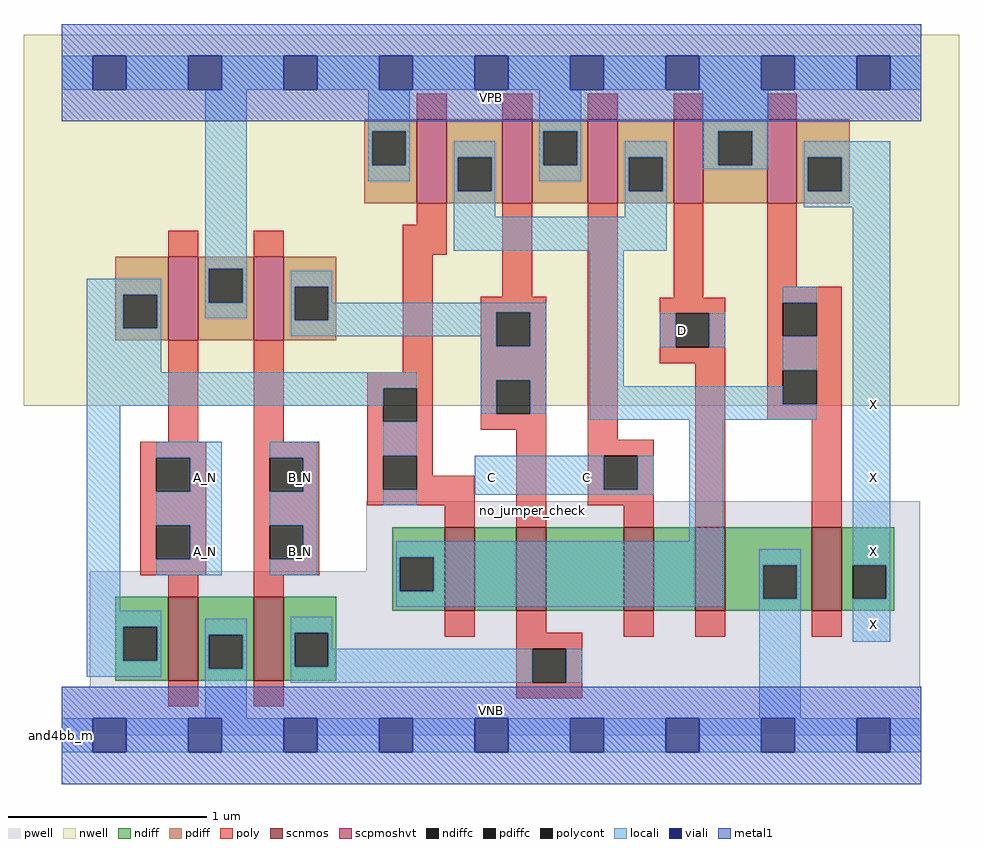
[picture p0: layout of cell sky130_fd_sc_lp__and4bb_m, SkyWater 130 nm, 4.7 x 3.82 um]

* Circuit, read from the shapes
.subckt sky130_fd_sc_lp__and4bb_m A_N B_N C D VGND VNB VPB VPWR X
XM1 VGND A_N n1 VNB sky130_fd_pr__nfet_01v8 w=0.42 l=0.15
XM2 n2 B_N VGND VNB sky130_fd_pr__nfet_01v8 w=0.42 l=0.15
XM3 n3 n1 n4 VNB sky130_fd_pr__nfet_01v8 w=0.42 l=0.15
XM4 n5 n2 n3 VNB sky130_fd_pr__nfet_01v8 w=0.42 l=0.15
XM5 n6 C n5 VNB sky130_fd_pr__nfet_01v8 w=0.42 l=0.15
XM6 VGND D n6 VNB sky130_fd_pr__nfet_01v8 w=0.42 l=0.15
XM7 X n4 VGND VNB sky130_fd_pr__nfet_01v8 w=0.42 l=0.15
XM8 VPWR A_N n1 VPB sky130_fd_pr__pfet_01v8_hvt w=0.42 l=0.15
XM9 n2 B_N VPWR VPB sky130_fd_pr__pfet_01v8_hvt w=0.42 l=0.15
XM10 n4 n1 VPWR VPB sky130_fd_pr__pfet_01v8_hvt w=0.42 l=0.15
XM11 VPWR n2 n4 VPB sky130_fd_pr__pfet_01v8_hvt w=0.42 l=0.15
XM12 n4 C VPWR VPB sky130_fd_pr__pfet_01v8_hvt w=0.42 l=0.15
XM13 VPWR D n4 VPB sky130_fd_pr__pfet_01v8_hvt w=0.42 l=0.15
XM14 X n4 VPWR VPB sky130_fd_pr__pfet_01v8_hvt w=0.42 l=0.15
.ends

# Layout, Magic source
magic
tech sky130A
magscale 1 2
<< nwell >>
rect -38 331 902 704
<< pwell >>
rect 306 165 863 235
rect 28 49 863 165
rect 0 0 864 49
<< scnmos >>
rect 107 55 137 139
rect 193 55 223 139
rect 385 125 415 209
rect 457 125 487 209
rect 565 125 595 209
rect 637 125 667 209
rect 754 125 784 209
<< scpmoshvt >>
rect 357 535 387 619
rect 443 535 473 619
rect 529 535 559 619
rect 615 535 645 619
rect 709 535 739 619
rect 107 397 137 481
rect 193 397 223 481
<< ndiff >>
rect 332 179 385 209
rect 332 145 340 179
rect 374 145 385 179
rect 54 109 107 139
rect 54 75 62 109
rect 96 75 107 109
rect 54 55 107 75
rect 137 101 193 139
rect 137 67 148 101
rect 182 67 193 101
rect 137 55 193 67
rect 223 103 276 139
rect 332 125 385 145
rect 415 125 457 209
rect 487 125 565 209
rect 595 125 637 209
rect 667 171 754 209
rect 667 137 705 171
rect 739 137 754 171
rect 667 125 754 137
rect 784 171 837 209
rect 784 137 795 171
rect 829 137 837 171
rect 784 125 837 137
rect 223 69 234 103
rect 268 69 276 103
rect 223 55 276 69
<< pdiff >>
rect 304 607 357 619
rect 304 573 312 607
rect 346 573 357 607
rect 304 535 357 573
rect 387 581 443 619
rect 387 547 398 581
rect 432 547 443 581
rect 387 535 443 547
rect 473 607 529 619
rect 473 573 484 607
rect 518 573 529 607
rect 473 535 529 573
rect 559 581 615 619
rect 559 547 570 581
rect 604 547 615 581
rect 559 535 615 547
rect 645 607 709 619
rect 645 573 660 607
rect 694 573 709 607
rect 645 535 709 573
rect 739 581 792 619
rect 739 547 750 581
rect 784 547 792 581
rect 739 535 792 547
rect 54 443 107 481
rect 54 409 62 443
rect 96 409 107 443
rect 54 397 107 409
rect 137 469 193 481
rect 137 435 148 469
rect 182 435 193 469
rect 137 397 193 435
rect 223 451 276 481
rect 223 417 234 451
rect 268 417 276 451
rect 223 397 276 417
<< ndiffc >>
rect 340 145 374 179
rect 62 75 96 109
rect 148 67 182 101
rect 705 137 739 171
rect 795 137 829 171
rect 234 69 268 103
<< pdiffc >>
rect 312 573 346 607
rect 398 547 432 581
rect 484 573 518 607
rect 570 547 604 581
rect 660 573 694 607
rect 750 547 784 581
rect 62 409 96 443
rect 148 435 182 469
rect 234 417 268 451
<< poly >>
rect 357 619 387 645
rect 443 619 473 645
rect 529 619 559 645
rect 615 619 645 645
rect 709 619 739 645
rect 357 513 387 535
rect 107 481 137 507
rect 193 481 223 507
rect 343 483 387 513
rect 107 295 137 397
rect 193 295 223 397
rect 343 365 373 483
rect 443 441 473 535
rect 307 349 373 365
rect 307 315 323 349
rect 357 315 373 349
rect 79 279 145 295
rect 79 245 95 279
rect 129 245 145 279
rect 79 211 145 245
rect 79 177 95 211
rect 129 177 145 211
rect 79 161 145 177
rect 193 279 259 295
rect 193 245 209 279
rect 243 245 259 279
rect 193 211 259 245
rect 307 281 373 315
rect 421 425 487 441
rect 421 391 437 425
rect 471 391 487 425
rect 421 357 487 391
rect 421 323 437 357
rect 471 323 487 357
rect 421 307 487 323
rect 307 247 323 281
rect 357 261 373 281
rect 357 247 415 261
rect 307 231 415 247
rect 193 177 209 211
rect 243 177 259 211
rect 385 209 415 231
rect 457 209 487 307
rect 529 297 559 535
rect 615 440 645 535
rect 709 451 739 535
rect 601 424 667 440
rect 601 390 617 424
rect 651 390 667 424
rect 601 374 667 390
rect 529 281 595 297
rect 529 247 545 281
rect 579 247 595 281
rect 529 231 595 247
rect 565 209 595 231
rect 637 209 667 374
rect 709 435 784 451
rect 709 401 725 435
rect 759 401 784 435
rect 709 367 784 401
rect 709 333 725 367
rect 759 333 784 367
rect 709 317 784 333
rect 754 209 784 317
rect 193 161 259 177
rect 107 139 137 161
rect 193 139 223 161
rect 385 99 415 125
rect 457 103 487 125
rect 457 87 523 103
rect 565 99 595 125
rect 637 99 667 125
rect 754 99 784 125
rect 107 29 137 55
rect 193 29 223 55
rect 457 53 473 87
rect 507 53 523 87
rect 457 37 523 53
<< polycont >>
rect 323 315 357 349
rect 95 245 129 279
rect 95 177 129 211
rect 209 245 243 279
rect 437 391 471 425
rect 437 323 471 357
rect 323 247 357 281
rect 209 177 243 211
rect 617 390 651 424
rect 545 247 579 281
rect 725 401 759 435
rect 725 333 759 367
rect 473 53 507 87
<< locali >>
rect 0 649 31 683
rect 65 649 127 683
rect 161 649 223 683
rect 257 649 319 683
rect 353 649 415 683
rect 449 649 511 683
rect 545 649 607 683
rect 641 649 703 683
rect 737 649 799 683
rect 833 649 864 683
rect 144 469 186 649
rect 308 607 350 649
rect 308 573 312 607
rect 346 573 350 607
rect 480 607 522 649
rect 308 557 350 573
rect 394 581 436 597
rect 394 547 398 581
rect 432 547 436 581
rect 480 573 484 607
rect 518 573 522 607
rect 644 607 710 649
rect 480 557 522 573
rect 566 581 608 597
rect 394 521 436 547
rect 566 547 570 581
rect 604 547 608 581
rect 644 573 660 607
rect 694 573 710 607
rect 644 569 710 573
rect 746 581 833 597
rect 566 521 608 547
rect 746 547 750 581
rect 784 547 833 581
rect 746 531 833 547
rect 394 487 608 521
rect 25 443 100 459
rect 25 409 62 443
rect 96 409 100 443
rect 144 435 148 469
rect 182 435 186 469
rect 144 419 186 435
rect 230 451 272 467
rect 25 365 100 409
rect 230 417 234 451
rect 268 435 272 451
rect 268 425 487 435
rect 268 417 437 425
rect 230 401 437 417
rect 421 391 437 401
rect 471 391 487 425
rect 25 349 357 365
rect 25 331 323 349
rect 25 125 59 331
rect 421 357 487 391
rect 421 323 437 357
rect 471 323 487 357
rect 531 351 565 487
rect 725 435 759 451
rect 601 390 617 424
rect 651 390 667 424
rect 725 367 759 401
rect 531 333 725 351
rect 531 317 759 333
rect 95 279 161 295
rect 129 245 161 279
rect 95 211 161 245
rect 129 177 161 211
rect 95 161 161 177
rect 209 279 257 295
rect 243 245 257 279
rect 209 211 257 245
rect 323 281 357 315
rect 323 231 357 247
rect 415 247 545 281
rect 579 247 595 281
rect 415 242 595 247
rect 243 177 257 211
rect 631 195 665 317
rect 209 161 257 177
rect 336 179 665 195
rect 336 145 340 179
rect 374 145 665 179
rect 336 129 665 145
rect 701 171 743 187
rect 701 137 705 171
rect 739 137 743 171
rect 25 109 100 125
rect 25 75 62 109
rect 96 75 100 109
rect 25 59 100 75
rect 144 101 186 117
rect 144 67 148 101
rect 182 67 186 101
rect 144 17 186 67
rect 230 103 272 119
rect 230 69 234 103
rect 268 87 272 103
rect 268 69 473 87
rect 230 53 473 69
rect 507 53 523 87
rect 701 17 743 137
rect 795 171 833 531
rect 829 137 833 171
rect 795 94 833 137
rect 0 -17 31 17
rect 65 -17 127 17
rect 161 -17 223 17
rect 257 -17 319 17
rect 353 -17 415 17
rect 449 -17 511 17
rect 545 -17 607 17
rect 641 -17 703 17
rect 737 -17 799 17
rect 833 -17 864 17
<< viali >>
rect 31 649 65 683
rect 127 649 161 683
rect 223 649 257 683
rect 319 649 353 683
rect 415 649 449 683
rect 511 649 545 683
rect 607 649 641 683
rect 703 649 737 683
rect 799 649 833 683
rect 31 -17 65 17
rect 127 -17 161 17
rect 223 -17 257 17
rect 319 -17 353 17
rect 415 -17 449 17
rect 511 -17 545 17
rect 607 -17 641 17
rect 703 -17 737 17
rect 799 -17 833 17
<< metal1 >>
rect 0 683 864 715
rect 0 649 31 683
rect 65 649 127 683
rect 161 649 223 683
rect 257 649 319 683
rect 353 649 415 683
rect 449 649 511 683
rect 545 649 607 683
rect 641 649 703 683
rect 737 649 799 683
rect 833 649 864 683
rect 0 617 864 649
rect 0 17 864 49
rect 0 -17 31 17
rect 65 -17 127 17
rect 161 -17 223 17
rect 257 -17 319 17
rect 353 -17 415 17
rect 449 -17 511 17
rect 545 -17 607 17
rect 641 -17 703 17
rect 737 -17 799 17
rect 833 -17 864 17
rect 0 -49 864 -17
<< labels >>
flabel pwell s 0 0 864 49 0 FreeSans 200 0 0 0 VNB
port 6 nsew ground bidirectional
flabel nwell s 0 617 864 666 0 FreeSans 200 0 0 0 VPB
port 7 nsew power bidirectional
rlabel comment s 0 0 0 0 4 and4bb_m
flabel comment s 473 226 473 226 0 FreeSans 200 90 0 0 no_jumper_check
flabel metal1 s 0 617 864 666 0 FreeSans 340 0 0 0 VPWR
port 8 nsew power bidirectional
flabel metal1 s 0 0 864 49 0 FreeSans 340 0 0 0 VGND
port 5 nsew ground bidirectional
flabel locali s 415 242 449 276 0 FreeSans 340 0 0 0 C
port 3 nsew signal input
flabel locali s 511 242 545 276 0 FreeSans 340 0 0 0 C
port 3 nsew signal input
flabel locali s 607 390 641 424 0 FreeSans 340 0 0 0 D
port 4 nsew signal input
flabel locali s 127 168 161 202 0 FreeSans 340 0 0 0 A_N
port 1 nsew signal input
flabel locali s 127 242 161 276 0 FreeSans 340 0 0 0 A_N
port 1 nsew signal input
flabel locali s 223 168 257 202 0 FreeSans 340 0 0 0 B_N
port 2 nsew signal input
flabel locali s 223 242 257 276 0 FreeSans 340 0 0 0 B_N
port 2 nsew signal input
flabel locali s 799 94 833 128 0 FreeSans 340 0 0 0 X
port 9 nsew signal output
flabel locali s 799 168 833 202 0 FreeSans 340 0 0 0 X
port 9 nsew signal output
flabel locali s 799 242 833 276 0 FreeSans 340 0 0 0 X
port 9 nsew signal output
flabel locali s 799 316 833 350 0 FreeSans 340 0 0 0 X
port 9 nsew signal output
<< properties >>
string LEFsite unit
string LEFclass CORE
string FIXED_BBOX 0 0 864 666
string GDS_FILE $PDKPATH/libs.ref/sky130_fd_sc_lp/gds/sky130_fd_sc_lp.gds
string LEFsymmetry X Y R90
string GDS_END 5141462
string GDS_START 5133278
<< end >>
